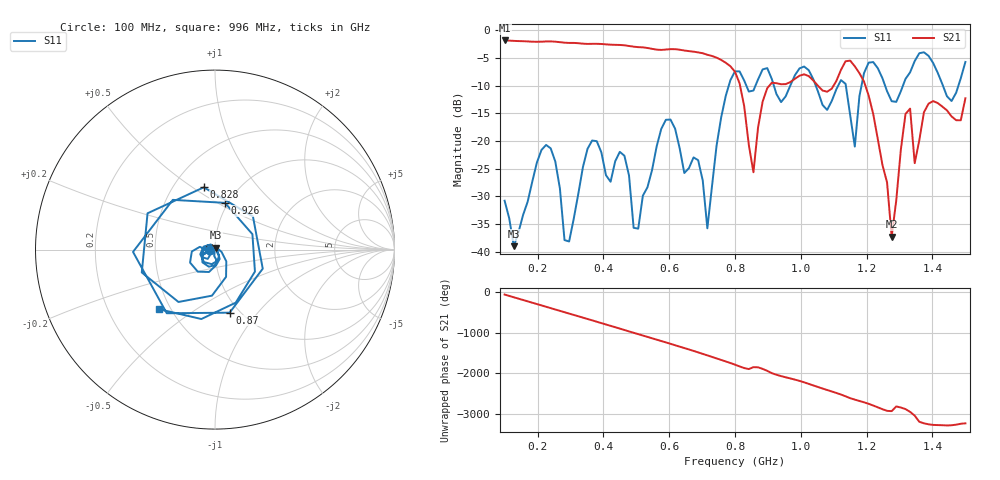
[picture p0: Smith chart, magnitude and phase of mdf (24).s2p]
! NanoVNA-App
! Date: 2025-09-25 15:38:37
! Start: 100MHz Stop: 1,5GHz Points: 101
! S-Parameter data: F S11 S21 S12 S22
# Hz S RI R 50
!  Frequency  S11_Real  S11_Imag  S21_Real  S21_Imag  S12_Real  S12_Imag  S22_Real  S22_Imag
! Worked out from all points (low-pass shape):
!   101 points, 100 MHz to 1.5 GHz, reference 50 ohm
!   highest |S21| = -1.80 dB at 100 MHz (marker M1); lowest = -37.3 dB at 1.276 GHz (marker M2)
!   |S21| within 3 dB of the highest: start of sweep to 739.2 MHz
!   lowest |S11| = -39.0 dB at 128 MHz (marker M3), VSWR 1.02, Z = 50.3 + j1.08 ohm
!   |S11| at or under -10 dB: start of sweep to 780.9 MHz; 1.046 GHz to 1.113 GHz (67.69 MHz wide, 6.27 % of centre); 1.256 GHz to 1.31 GHz (53.94 MHz wide, 4.2 % of centre) (the widest 3 of 7)
!   S12 and S22 are empty: the file has one direction only
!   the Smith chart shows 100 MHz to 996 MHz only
!   S11 on the Smith chart (normalised r, x): 100 MHz: 0.94, -0.01; 828 MHz: 0.70, +0.56; 870 MHz: 0.90, -0.73; 926 MHz: 0.97, +0.54; 996 MHz: 0.43, -0.36
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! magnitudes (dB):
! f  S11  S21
! 100 MHz  -30.8  -1.8
! 128 MHz  -39.0  -1.9
! 212 MHz  -21.6  -2.0
! 282 MHz  -37.9  -2.2
! 338 MHz  -24.7  -2.4
! 464 MHz  -22.6  -2.7
! 506 MHz  -35.8  -3.0
! 576 MHz  -17.8  -3.5
! 716 MHz  -35.8  -4.4
! 800 MHz  -7.4  -7.5
! 828 MHz  -9.1  -13.7
! 856 MHz  -10.9  -25.6
! 870 MHz  -8.9  -17.5
! 926 MHz  -11.5  -9.5
! 996 MHz  -6.9  -8.2
! 1.038 GHz  -8.8  -9.0
! 1.164 GHz  -21.0  -6.5
! 1.192 GHz  -7.7  -9.2
! 1.276 GHz  -12.8  -37.3
! 1.318 GHz  -8.8  -15.1
! 1.346 GHz  -5.5  -24.0
! 1.5 GHz  -5.7  -12.3
